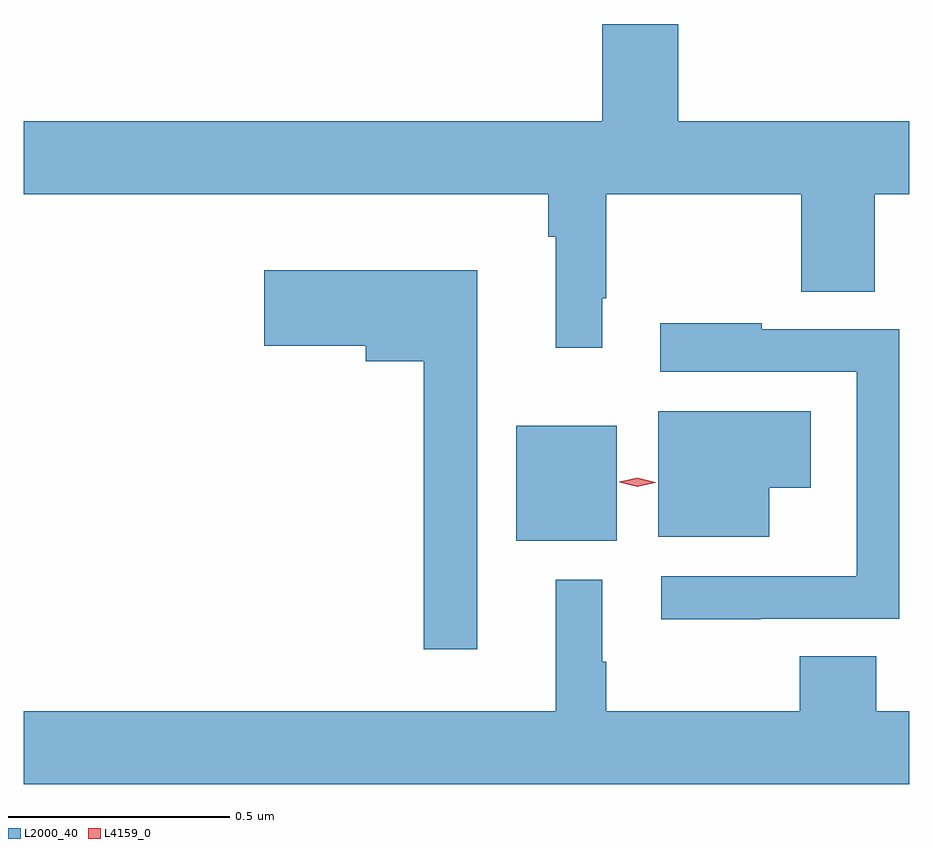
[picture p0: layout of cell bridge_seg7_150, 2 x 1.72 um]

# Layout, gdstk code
import gdstk
lib = gdstk.Library(unit=1e-6, precision=1e-09)
def R(c, l, rs):  # rectangles x0, y0, x1, y1
    for r in rs: c.add(gdstk.rectangle(r[:2], r[2:], *l))
def P(c, l, *ps):  # polygons
    for p in ps: c.add(gdstk.Polygon(p, *l))
L2000_40 = (2000, 40)
L4159_0 = (4159, 0)

bridge_seg7_150 = lib.new_cell('bridge_seg7_150')
R(bridge_seg7_150, L2000_40, [(618.137,1035.797,618.364,1036.057)])
P(bridge_seg7_150, L2000_40, [(618.331,1036.345),(618.341,1036.345),(618.341,1036.58),(618.781,1036.58),(618.781,1036.36),(618.947,1036.36),(618.947,1036.58),(619.025,1036.58),(619.025,1036.744),(618.503,1036.744),(618.503,1036.964),(618.332,1036.964),(618.332,1036.744),(617.025,1036.744),(617.025,1036.58),(618.21,1036.58),(618.21,1036.484),(618.227,1036.484),(618.227,1036.233),(618.331,1036.233)],
  [(618.049,1036.408),(617.568,1036.408),(617.568,1036.238),(617.798,1036.238),(617.798,1036.202),(617.928,1036.202),(617.928,1035.552),(618.049,1035.552)],
  [(618.689,1035.621),(619.002,1035.621),(619.002,1036.275),(618.692,1036.275),(618.692,1036.288),(618.462,1036.288),(618.462,1036.179),(618.906,1036.179),(618.906,1035.719),(618.905,1035.719),(618.905,1035.717),(618.465,1035.717),(618.465,1035.62),(618.689,1035.62)],
  [(618.709,1035.917),(618.802,1035.917),(618.802,1036.09),(618.458,1036.09),(618.458,1035.806),(618.709,1035.806)],
  [(619.025,1035.412),(618.95,1035.412),(618.95,1035.536),(618.778,1035.536),(618.778,1035.412),(618.341,1035.412),(618.341,1035.524),(618.331,1035.524),(618.331,1035.709),(618.227,1035.709),(618.227,1035.412),(617.025,1035.412),(617.025,1035.248),(619.025,1035.248)])
P(bridge_seg7_150, L4159_0, [(618.41,1035.919),(618.37,1035.929),(618.37,1035.93),(618.37,1035.93),(618.411,1035.939),(618.451,1035.929),(618.452,1035.929),(618.451,1035.928)])

lib.write_gds('bridge_seg7_150.gds')
